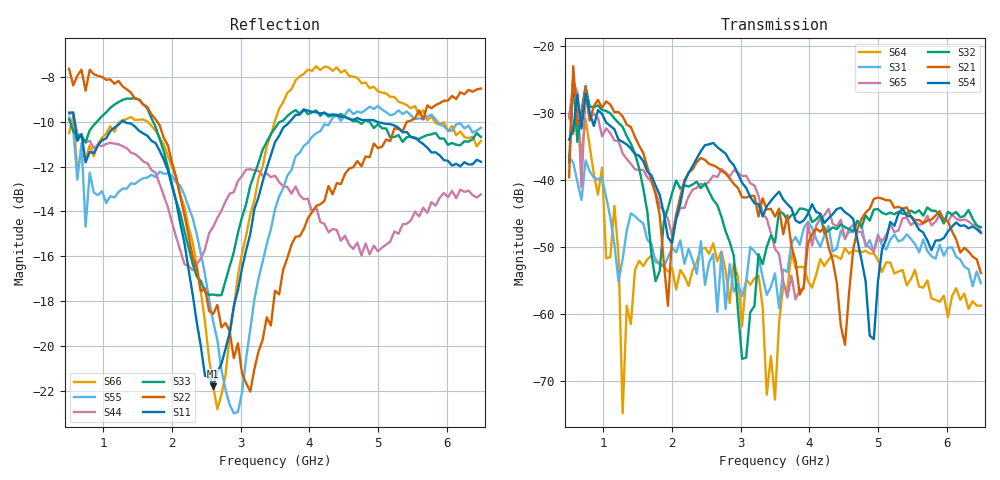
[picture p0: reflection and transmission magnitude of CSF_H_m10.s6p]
!Keysight Technologies,M9804A,MY58100912,A.14.10.03
!Date: Thursday, April 27, 2023 10:28:33
!Correction: S11(C  6-Port  )
!S12(C  6-Port  )
!S13(C  6-Port  )
!S14(C  6-Port  )
!S15(C  6-Port  )
!S16(C  6-Port  )
!S21(C  6-Port  )
!S22(C  6-Port  )
!S23(C  6-Port  )
!S24(C  6-Port  )
!S25(C  6-Port  )
!S26(C  6-Port  )
!S31(C  6-Port  )
!S32(C  6-Port  )
!S33(C  6-Port  )
!S34(C  6-Port  )
!S35(C  6-Port  )
!S36(C  6-Port  )
!S41(C  6-Port  )
!S42(C  6-Port  )
!S43(C  6-Port  )
!S44(C  6-Port  )
!S45(C  6-Port  )
!S46(C  6-Port  )
!S51(C  6-Port  )
!S52(C  6-Port  )
!S53(C  6-Port  )
!S54(C  6-Port  )
!S55(C  6-Port  )
!S56(C  6-Port  )
!S61(C  6-Port  )
!S62(C  6-Port  )
!S63(C  6-Port  )
!S64(C  6-Port  )
!S65(C  6-Port  )
!S66(C  6-Port  )
!S6P File: Measurement: :
# Hz S  RI  R 50
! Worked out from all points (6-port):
!   101 points, 500 MHz to 6.5 GHz, reference 50 ohm
!   strongest paths, dB at 500 MHz, 2 GHz, 3.5 GHz, 5 GHz, 6.5 GHz:
!     S54: -34.0, -49.4, -42.4, -55.2, -47.9
!     S21: -39.6, -48.5, -45.5, -42.6, -53.9
!     S32: -37.4, -42.0, -49.3, -44.4, -47.0
!     S65: -30.8, -48.3, -50.3, -48.4, -47.7
!     S31: -36.6, -50.1, -54.0, -48.2, -55.4
!     S64: -30.3, -53.1, -72.8, -52.0, -58.8
!   lowest |S11| = -21.8 dB at 2.6 GHz (marker M1), VSWR 1.18, Z = 42.7 + j1.91 ohm
!   |S11| at or under -10 dB: 579.7 MHz to 1.264 GHz (684.1 MHz wide, 74.2 % of centre); 1.308 GHz to 3.713 GHz (2.405 GHz wide, 95.8 % of centre); 4.988 GHz to end of sweep
